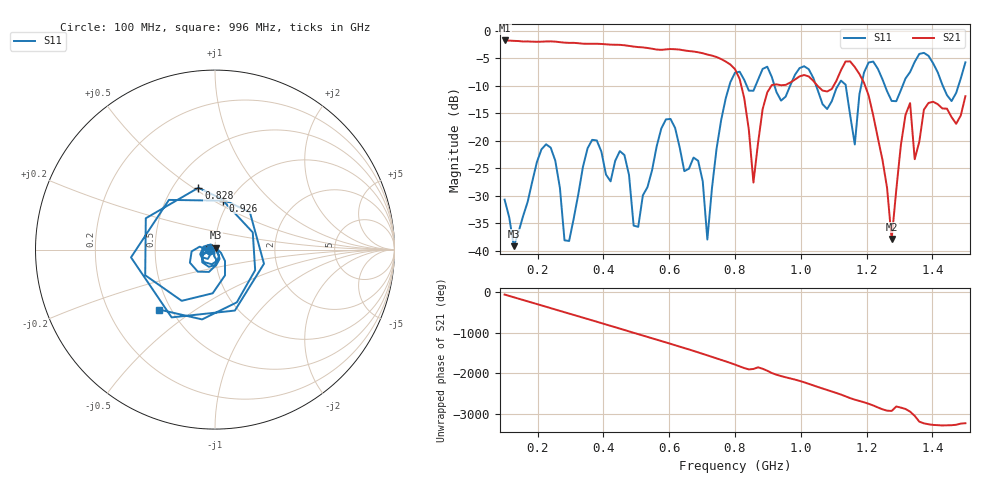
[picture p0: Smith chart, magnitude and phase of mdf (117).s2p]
! NanoVNA-App
! Date: 2025-09-25 17:41:52
! Start: 100MHz Stop: 1,5GHz Points: 101
! S-Parameter data: F S11 S21 S12 S22
# Hz S RI R 50
!  Frequency  S11_Real  S11_Imag  S21_Real  S21_Imag  S12_Real  S12_Imag  S22_Real  S22_Imag
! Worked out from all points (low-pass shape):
!   101 points, 100 MHz to 1.5 GHz, reference 50 ohm
!   highest |S21| = -1.80 dB at 100 MHz (marker M1); lowest = -37.9 dB at 1.276 GHz (marker M2)
!   |S21| within 3 dB of the highest: start of sweep to 743.6 MHz
!   lowest |S11| = -39.2 dB at 128 MHz (marker M3), VSWR 1.02, Z = 50.3 + j1.05 ohm
!   |S11| at or under -10 dB: start of sweep to 782.9 MHz; 1.046 GHz to 1.113 GHz (66.59 MHz wide, 6.17 % of centre); 1.255 GHz to 1.309 GHz (54.04 MHz wide, 4.21 % of centre) (the widest 3 of 7)
!   S12 and S22 are empty: the file has one direction only
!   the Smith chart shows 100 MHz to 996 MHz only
!   S11 on the Smith chart (normalised r, x): 100 MHz: 0.94, -0.01; 828 MHz: 0.66, +0.52; 926 MHz: 0.94, +0.55; 996 MHz: 0.43, -0.37
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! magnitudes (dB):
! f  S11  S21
! 100 MHz  -30.7  -1.8
! 128 MHz  -39.2  -1.9
! 212 MHz  -21.6  -2.0
! 282 MHz  -38.1  -2.2
! 338 MHz  -24.8  -2.4
! 464 MHz  -22.6  -2.7
! 506 MHz  -35.6  -3.0
! 576 MHz  -17.8  -3.5
! 688 MHz  -23.7  -3.9
! 716 MHz  -38.0  -4.4
! 800 MHz  -7.7  -7.0
! 828 MHz  -9.0  -12.3
! 856 MHz  -10.9  -27.6
! 926 MHz  -11.2  -9.8
! 996 MHz  -6.8  -8.3
! 1.038 GHz  -8.6  -9.1
! 1.164 GHz  -20.7  -6.6
! 1.192 GHz  -7.6  -9.5
! 1.276 GHz  -12.8  -37.9
! 1.332 GHz  -7.5  -13.2
! 1.346 GHz  -5.7  -23.4
! 1.5 GHz  -5.8  -11.9
